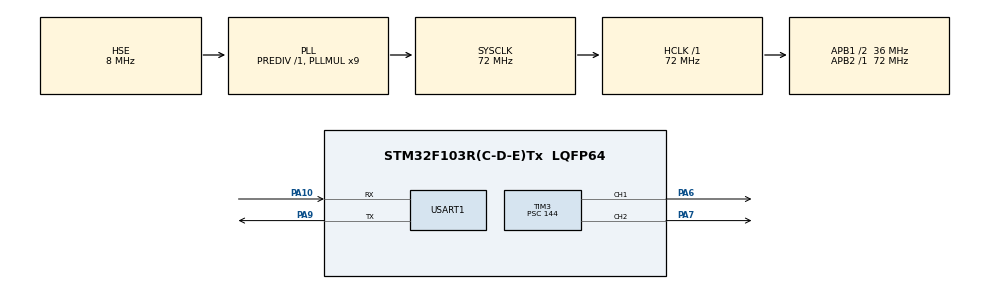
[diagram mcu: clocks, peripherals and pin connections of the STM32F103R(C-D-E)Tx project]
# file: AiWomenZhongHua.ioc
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Mcu.Family=STM32F1
Mcu.Name=STM32F103R(C-D-E)Tx
Mcu.Package=LQFP64
NVIC.PriorityGroup=NVIC_PRIORITYGROUP_4
NVIC.TIM2_IRQn=true\:0\:0\:false\:false\:true\:true\:true\:true
NVIC.USART1_IRQn=true\:0\:0\:false\:false\:true\:true\:true\:true
PA10.Mode=Asynchronous
PA10.Signal=USART1_RX
PA13.Mode=Serial_Wire
PA13.Signal=SYS_JTMS-SWDIO
PA14.Mode=Serial_Wire
PA14.Signal=SYS_JTCK-SWCLK
PA6.Signal=S_TIM3_CH1
PA7.Signal=S_TIM3_CH2
PA9.Mode=Asynchronous
PA9.Signal=USART1_TX
PC14-OSC32_IN.Mode=LSE-External-Oscillator
PC14-OSC32_IN.Signal=RCC_OSC32_IN
PC15-OSC32_OUT.Mode=LSE-External-Oscillator
PC15-OSC32_OUT.Signal=RCC_OSC32_OUT
PD0-OSC_IN.Mode=HSE-External-Oscillator
PD0-OSC_IN.Signal=RCC_OSC_IN
PD1-OSC_OUT.Mode=HSE-External-Oscillator
PD1-OSC_OUT.Signal=RCC_OSC_OUT
ProjectManager.HeapSize=0x200
ProjectManager.StackSize=0x400
ProjectManager.TargetToolchain=MDK-ARM V5
RCC.AHBFreq_Value=72000000
RCC.APB1CLKDivider=RCC_HCLK_DIV2
RCC.APB1Freq_Value=36000000
RCC.APB1TimFreq_Value=72000000
RCC.APB2Freq_Value=72000000
RCC.APB2TimFreq_Value=72000000
RCC.HCLKFreq_Value=72000000
RCC.PLLMUL=RCC_PLL_MUL9
RCC.PLLSourceVirtual=RCC_PLLSOURCE_HSE
RCC.SYSCLKFreq_VALUE=72000000
RCC.SYSCLKSource=RCC_SYSCLKSOURCE_PLLCLK
RCC.USBFreq_Value=72000000
SH.S_TIM3_CH1.0=TIM3_CH1,PWM Generation1 CH1
SH.S_TIM3_CH2.0=TIM3_CH2,PWM Generation2 CH2
TIM2.Period=4999
TIM2.Prescaler=143
TIM3.Channel-PWM\ Generation1\ CH1=TIM_CHANNEL_1
TIM3.Channel-PWM\ Generation2\ CH2=TIM_CHANNEL_2
TIM3.OCMode_PWM-PWM\ Generation1\ CH1=TIM_OCMODE_PWM2
TIM3.Period=999
TIM3.Prescaler=144
USART1.VirtualMode=VM_ASYNC
VP_TIM2_VS_ClockSourceINT.Mode=Internal
VP_TIM3_VS_ClockSourceINT.Mode=Internal
board=custom

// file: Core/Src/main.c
/* USER CODE BEGIN Header */
/**
  ******************************************************************************
  * @file           : main.c
  * @brief          : Main program body
  ******************************************************************************
  * @attention
  *
  * Copyright (c) 2024 STMicroelectronics.
  * All rights reserved.
  *
  * This software is licensed under terms that can be found in the LICENSE file
  * in the root directory of this software component.
  * If no LICENSE file comes with this software, it is provided AS-IS.
  *
  ******************************************************************************
  */
/* USER CODE END Header */
#include "main.h"
#include "tim.h"
#include "usart.h"
#include "gpio.h"

/* USER CODE BEGIN Includes */
#include <stdio.h>
#include <string.h>
/* USER CODE END Includes */

void SystemClock_Config(void);

/* USER CODE BEGIN 0 */
uint8_t message[] = "0";

int fputc(int ch,FILE *f){
	uint8_t temp[1]={ch};
	HAL_UART_Transmit(&huart1,temp,1,2);
	return ch;
}

int fgetc(FILE *f){
	uint8_t ch;
	HAL_UART_Receive(&huart1,(uint8_t*)&ch,1,0xFFFF);
	return ch;
}

int IsHeadTurn=3;
int angle;
/* USER CODE END 0 */

int main(void)
{

  /* MCU Configuration--------------------------------------------------------*/

  /* Reset of all peripherals, Initializes the Flash interface and the Systick. */
  HAL_Init();

  /* Configure the system clock */
  SystemClock_Config();

  /* Initialize all configured peripherals */
  MX_GPIO_Init();
  MX_TIM2_Init();
  MX_TIM3_Init();
  MX_USART1_UART_Init();
  /* USER CODE BEGIN 2 */
	HAL_TIM_Base_Start_IT(&htim3);
	HAL_TIM_Base_Start_IT(&htim2);
	HAL_TIM_PWM_Start(&htim3,TIM_CHANNEL_1);
	HAL_TIM_PWM_Start(&htim3,TIM_CHANNEL_2);
	printf("Hello,world!");
	printf("\r\n");
	angle=350;
	__HAL_TIM_SetCompare(&htim3,TIM_CHANNEL_1,angle);
	__HAL_TIM_SetCompare(&htim3,TIM_CHANNEL_2,1000);

//	//8266 Init
//	printf("AT+RST\r\n");
//		while(1){
//				char tmp[11];
//				scanf("%[^\r\n]",tmp);getchar();
//				if(strcmp(tmp,"WIFI GOT IP")==0){break;}
//		}
//		while(1){
//			char tmp[2];
//			printf("AT+CIPSTART=\"TCP\",\"192.168.1.4\",8080\r\n");
//			//break;
//				scanf("%s",tmp);getchar();
//				scanf("%s",tmp);getchar();
//				scanf("%s",tmp);getchar();
//				if(strcmp(tmp,"OK")==0){break;}
//		}//Init 8266END
  /* USER CODE END 2 */

  /* Infinite loop */
  /* USER CODE BEGIN WHILE */
  while (1)
  {
//		char commands[20];
//		char command[20];
//		int len;
//		scanf("%*4s%s",commands);
//		sscanf(commands,"%d:%s",&len,command);
//		int value;
//		switch(command[0]){
//			case '0':
//				sscanf(command,"%*1s%d",&value);
//				__HAL_TIM_SetCompare(&htim3,TIM_CHANNEL_2,value);
//				break;
//			case '1':
//				sscanf(command,"%*1s%d",&value);
//				if(value==50){IsHeadTurn=1;}else if(value==51){IsHeadTurn=0;}
//				break;
//			case '2':
//				IsHeadTurn=0;
//				sscanf(command,"%*1s%d",&value);
//				__HAL_TIM_SetCompare(&htim3,TIM_CHANNEL_1,(100+value));
//				break;
//			case '3':
//				break;
//			case '4':
//				break;}
			int Fan;
			scanf("%d",&Fan);
			printf("%d",Fan);
			__HAL_TIM_SetCompare(&htim3,TIM_CHANNEL_2,);

		/* USER CODE END WHILE */

  }
}

void SystemClock_Config(void)
{
  RCC_OscInitTypeDef RCC_OscInitStruct = {0};
  RCC_ClkInitTypeDef RCC_ClkInitStruct = {0};

  /** Initializes the RCC Oscillators according to the specified parameters
  * in the RCC_OscInitTypeDef structure.
  */
  RCC_OscInitStruct.OscillatorType = RCC_OSCILLATORTYPE_HSE;
  RCC_OscInitStruct.HSEState = RCC_HSE_ON;
  RCC_OscInitStruct.HSEPredivValue = RCC_HSE_PREDIV_DIV1;
  RCC_OscInitStruct.HSIState = RCC_HSI_ON;
  RCC_OscInitStruct.PLL.PLLState = RCC_PLL_ON;
  RCC_OscInitStruct.PLL.PLLSource = RCC_PLLSOURCE_HSE;
  RCC_OscInitStruct.PLL.PLLMUL = RCC_PLL_MUL9;
  if (HAL_RCC_OscConfig(&RCC_OscInitStruct) != HAL_OK)
  {
    Error_Handler();
  }

  /** Initializes the CPU, AHB and APB buses clocks
  */
  RCC_ClkInitStruct.ClockType = RCC_CLOCKTYPE_HCLK|RCC_CLOCKTYPE_SYSCLK
                              |RCC_CLOCKTYPE_PCLK1|RCC_CLOCKTYPE_PCLK2;
  RCC_ClkInitStruct.SYSCLKSource = RCC_SYSCLKSOURCE_PLLCLK;
  RCC_ClkInitStruct.AHBCLKDivider = RCC_SYSCLK_DIV1;
  RCC_ClkInitStruct.APB1CLKDivider = RCC_HCLK_DIV2;
  RCC_ClkInitStruct.APB2CLKDivider = RCC_HCLK_DIV1;

  if (HAL_RCC_ClockConfig(&RCC_ClkInitStruct, FLASH_LATENCY_2) != HAL_OK)
  {
    Error_Handler();
  }
}

/* USER CODE BEGIN 4 */
int tanggle;
void HAL_TIM_PeriodElapsedCallback(TIM_HandleTypeDef *htim)
{
    if(htim->Instance==TIM2)
    {
      if(IsHeadTurn==1){
			if(angle==100){tanggle=1;}else if(angle==600){tanggle=0;}
			if(tanggle){angle++;}else{angle--;}
			//printf("angle = %d \r\n",angle);
			__HAL_TIM_SetCompare(&htim3,TIM_CHANNEL_1,angle);
		}
    }
}
/* USER CODE END 4 */

void Error_Handler(void)
{
  __disable_irq();
  while (1)
  {
  }
}
